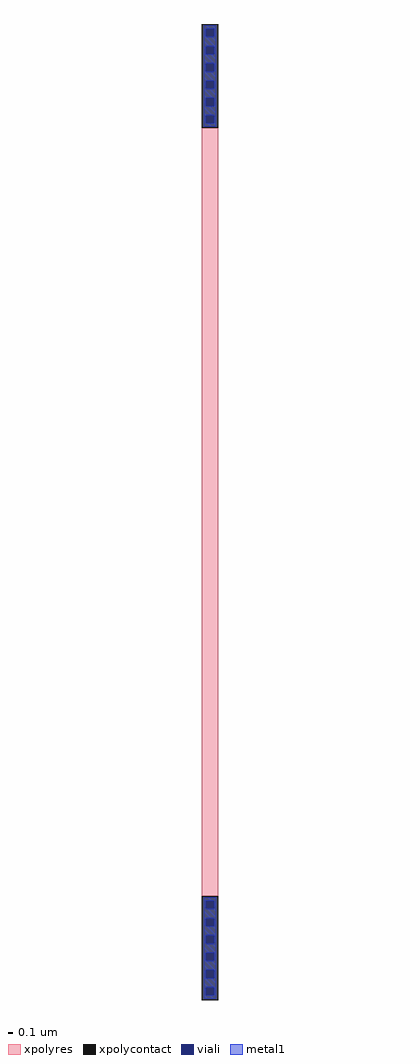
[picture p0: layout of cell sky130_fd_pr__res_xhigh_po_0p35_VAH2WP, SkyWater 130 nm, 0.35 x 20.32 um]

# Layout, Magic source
magic
tech sky130A
magscale 1 2
<< xpolycontact >>
rect -35 1600 35 2032
rect -35 -2032 35 -1600
<< xpolyres >>
rect -35 -1600 35 1600
<< viali >>
rect -17 1978 17 2012
rect -17 1906 17 1940
rect -17 1834 17 1868
rect -17 1762 17 1796
rect -17 1690 17 1724
rect -17 1618 17 1652
rect -17 -1653 17 -1619
rect -17 -1725 17 -1691
rect -17 -1797 17 -1763
rect -17 -1869 17 -1835
rect -17 -1941 17 -1907
rect -17 -2013 17 -1979
<< metal1 >>
rect -25 2012 25 2026
rect -25 1978 -17 2012
rect 17 1978 25 2012
rect -25 1940 25 1978
rect -25 1906 -17 1940
rect 17 1906 25 1940
rect -25 1868 25 1906
rect -25 1834 -17 1868
rect 17 1834 25 1868
rect -25 1796 25 1834
rect -25 1762 -17 1796
rect 17 1762 25 1796
rect -25 1724 25 1762
rect -25 1690 -17 1724
rect 17 1690 25 1724
rect -25 1652 25 1690
rect -25 1618 -17 1652
rect 17 1618 25 1652
rect -25 1605 25 1618
rect -25 -1619 25 -1605
rect -25 -1653 -17 -1619
rect 17 -1653 25 -1619
rect -25 -1691 25 -1653
rect -25 -1725 -17 -1691
rect 17 -1725 25 -1691
rect -25 -1763 25 -1725
rect -25 -1797 -17 -1763
rect 17 -1797 25 -1763
rect -25 -1835 25 -1797
rect -25 -1869 -17 -1835
rect 17 -1869 25 -1835
rect -25 -1907 25 -1869
rect -25 -1941 -17 -1907
rect 17 -1941 25 -1907
rect -25 -1979 25 -1941
rect -25 -2013 -17 -1979
rect 17 -2013 25 -1979
rect -25 -2026 25 -2013
<< end >>
